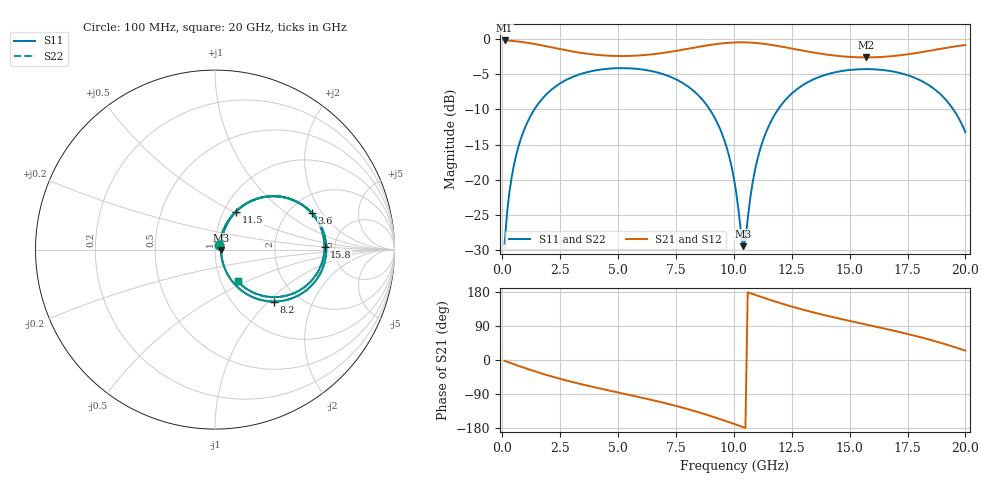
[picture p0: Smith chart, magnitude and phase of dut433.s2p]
! Touchstone file exported from HFSS 2026.1.0
!  File:  C:/ffzhzh/LocalFiles/Ansys_Project_Files/temp_train_TSV_RDL_433_1783097410_37876.aedt
!  Generated:  01:05:35 AM Jul  4, 2026
!  Design:  TSV_RDL
!  Project:  temp_train_TSV_RDL_433_1783097410_37876
! Variables:
!  h_bsmrdl = 5.45um
!  h_ox = 20um
!  h_rdl = 5um
!  h_sub = 81.42um
!  h_tmrdl = 5.92um
!  h_tsv = 81.42um
!  h_via = 3um
!  l_bsmrdl = 978.47um
!  l_sub = 5807.88um
!  l_tmrdl = 596.57um
!  m_sub = 200um
!  pitch = 51.41um
!  r_tsv = 9.11um
!  s_tmrdl = 10um
!  w_bsmrdl = 15.31um
!  w_sub = 500um
!  w_tmrdl = 13.42um
!  x_tsv_center1 = 603.28um
!  x_tsv_center2 = 1597.06um
!  x_tsv_center3 = 2207.05um
!  x_tsv_center4 = 3200.83um
!  x_tsv_center5 = 3810.82um
!  x_tsv_center6 = 4804.6um
# GHz S MA R 50.000000
! Terminal data exported
! Port[1] = TM_RDL1_1_T1
! Port[2] = TM_RDL5_1_T1
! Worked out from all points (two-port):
!   200 points, 100 MHz to 20 GHz, reference 50 ohm
!   highest |S21| = -0.21 dB at 100 MHz (marker M1); lowest = -2.6 dB at 15.7 GHz (marker M2)
!   |S21| within 3 dB of the highest: start of sweep to end of sweep
!   lowest |S11| = -29.4 dB at 10.4 GHz (marker M3), VSWR 1.07, Z = 53.5 - j0.466 ohm
!   |S11| at or under -10 dB: start of sweep to 1.39 GHz; 8.954 GHz to 11.91 GHz (2.96 GHz wide, 28.4 % of centre); 19.47 GHz to end of sweep
!   |S22| runs from -29.5 to -4.1 dB; largest |S21 - S12| = 1.7e-14
!   S11 on the Smith chart (normalised r, x): 100 MHz: 1.05, +0.05; 3.6 GHz: 2.62, +1.62; 8.2 GHz: 1.51, -1.08; 11.5 GHz: 1.14, +0.51; 15.8 GHz: 4.12, +0.21; 20 GHz: 1.20, -0.45
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0.1  0.0351 44.8  0.9758 -2.3  0.9758 -2.3  0.0351 44.8
! Gamma 0 0 0 0
! Port Impedance 50 0 50 0
0.3  0.07962 64.8  0.972 -6.7  0.972 -6.7  0.07962 64.8
0.5  0.1263 67.0  0.9664 -11.1  0.9664 -11.1  0.1263 67.0
1.1  0.2591 60.1  0.9387 -23.8  0.9387 -23.8  0.2591 60.1
2.1  0.4327 43.4  0.873 -42.9  0.873 -42.9  0.4327 43.4
3.5  0.5711 22.2  0.7921 -65.1  0.7921 -65.1  0.5711 22.2
3.6  0.5772 20.9  0.7879 -66.6  0.7879 -66.6  0.5772 20.8
5.2  0.6204 -0.0  0.7561 -88.4  0.7561 -88.4  0.6204 -0.0
6.8  0.5718 -20.9  0.7898 -110.4  0.7898 -110.4  0.5718 -21.0
8.2  0.436 -41.6  0.8625 -132.9  0.8625 -132.9  0.436 -41.6
9.4  0.2303 -59.9  0.9268 -155.9  0.9268 -155.9  0.2303 -59.9
10.1  0.08143 -58.3  0.9453 -170.6  0.9453 -170.6  0.08135 -58.5
10.4  0.03369 -7.4  0.9462 -177.0  0.9462 -177.0  0.03343 -7.6
10.9  0.1141 64.0  0.9379 172.3  0.9379 172.3  0.114 64.2
11.5  0.2391 61.0  0.9138 160.0  0.9138 160.0  0.239 61.1
12.3  0.3797 49.2  0.8676 144.7  0.8676 144.7  0.3797 49.2
13.4  0.5128 32.7  0.8027 126.2  0.8027 126.2  0.5128 32.7
15.7  0.6106 2.7  0.7396 93.8  0.7396 93.8  0.6106 2.7
15.8  0.6104 1.5  0.7397 92.4  0.7397 92.4  0.6104 1.5
16.7  0.5937 -9.8  0.7515 80.2  0.7515 80.2  0.5937 -9.8
18.7  0.4353 -37.4  0.8385 49.4  0.8385 49.4  0.4353 -37.4
20  0.2176 -54.5  0.9051 24.7  0.9051 24.7  0.2175 -54.7
